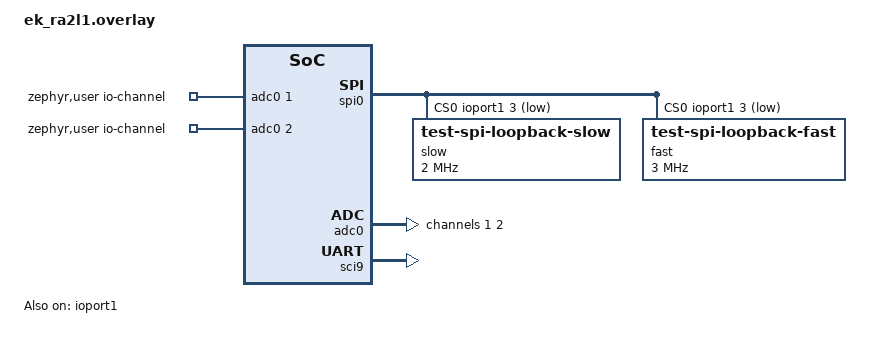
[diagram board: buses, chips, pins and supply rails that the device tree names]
/*
 * Copyright (c) 2025 Renesas Electronics Corporation
 * SPDX-License-Identifier: Apache-2.0
 */

&spi0 {
	rx-dtc;
	tx-dtc;

	slow@0 {
		compatible = "test-spi-loopback-slow";
		reg = <0>;
		spi-max-frequency = <2000000>;
	};

	fast@0 {
		compatible = "test-spi-loopback-fast";
		reg = <0>;
		spi-max-frequency = <3000000>;
	};
};

&pinctrl {
	spi0_default: spi0_default {
		group1 {
			/* MISO MOSI RSPCK */
			psels = <RA_PSEL(RA_PSEL_SPI, 1, 0)>,
				<RA_PSEL(RA_PSEL_SPI, 1, 1)>,
				<RA_PSEL(RA_PSEL_SPI, 1, 2)>;
		};
	};
};

&spi0 {
	pinctrl-0 = <&spi0_default>;
	pinctrl-names = "default";
	cs-gpios = <&ioport1 3 GPIO_ACTIVE_LOW>;
	interrupts = <8 1>, <9 1>, <10 1>, <19 1>;
	interrupt-names = "rxi", "txi", "tei", "eri";
	status = "okay";
};

&ioport1 {
	status = "okay";
};

/ {
	zephyr,user {
		io-channels = <&adc0 1>, <&adc0 2>;
	};
};

&adc0 {
	status = "okay";
	#address-cells = <1>;
	#size-cells = <0>;
	channel@1 {
		reg = <1>;
		zephyr,gain = "ADC_GAIN_1";
		zephyr,reference = "ADC_REF_INTERNAL";
		zephyr,resolution = <12>;
		zephyr,acquisition-time = <ADC_ACQ_TIME_DEFAULT>;
		zephyr,vref-mv = <3300>;
	};
	channel@2 {
		reg = <2>;
		zephyr,gain = "ADC_GAIN_1";
		zephyr,reference = "ADC_REF_INTERNAL";
		zephyr,resolution = <12>;
		zephyr,acquisition-time = <ADC_ACQ_TIME_DEFAULT>;
		zephyr,vref-mv = <3300>;
	};
};

&pinctrl {
	sci9_default: sci9_default {
		group1 {
			psels = <RA_PSEL(RA_PSEL_SCI_9, 2, 3)>,
				<RA_PSEL(RA_PSEL_SCI_9, 2, 2)>;
		};
	};
};

&sci9 {
	pinctrl-0 = <&sci9_default>;
	pinctrl-names = "default";
	interrupts = <28 1>, <29 1>, <30 1>, <31 1>;
	interrupt-names = "rxi", "txi", "tei", "eri";
	status = "okay";
	dut: uart {
		current-speed = <115200>;
		status = "okay";
	};
};
